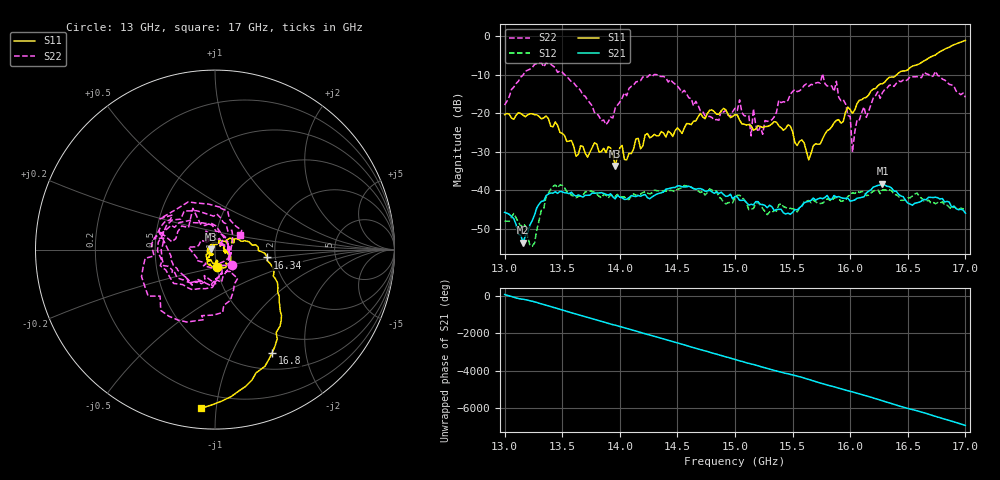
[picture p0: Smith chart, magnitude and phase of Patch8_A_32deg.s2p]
!Keysight Technologies,P9374A,MY57211810,A.19.30.04
!Date: Friday, May 09, 2025 09:14:57
!Correction: S11(Cdelta 2-Port  )
!S21(Cdelta 2-Port  )
!S12(Cdelta 2-Port  )
!S22(Cdelta 2-Port  )
!S2P File: Measurements: S11, S21, S12, S22:
# Hz S  dB  R 50
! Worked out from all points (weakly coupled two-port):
!   201 points, 13 GHz to 17 GHz, reference 50 ohm
!   highest |S21| = -38.32 dB at 16.28 GHz (marker M1); lowest = -53.6 dB at 13.16 GHz (marker M2)
!   lowest |S11| = -33.7 dB at 13.96 GHz (marker M3), VSWR 1.04, Z = 48 + j0.12 ohm
!   |S11| at or under -10 dB: start of sweep to 16.4 GHz
!   |S22| runs from -30.1 to -6.9 dB; largest |S21 - S12| = 0.0036
!   S11 on the Smith chart (normalised r, x): 13 GHz: 1.01, -0.19; 16.34 GHz: 1.81, -0.17; 16.8 GHz: 0.71, -1.45; 17 GHz: 0.11, -0.91
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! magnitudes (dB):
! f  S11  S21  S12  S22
! 13 GHz  -20.4  -45.8  -48.0  -17.8
! 13.16 GHz  -20.5  -53.6  -48.8  -10.1
! 13.24 GHz  -20.1  -47.9  -54.6  -8.1
! 13.36 GHz  -20.7  -41.4  -41.7  -6.9
! 13.68 GHz  -28.7  -41.8  -41.4  -15.3
! 13.88 GHz  -30.2  -41.1  -41.2  -22.9
! 13.96 GHz  -33.7  -42.2  -41.7  -18.6
! 14.34 GHz  -25.8  -40.8  -40.2  -10.4
! 14.82 GHz  -19.6  -40.8  -40.1  -21.7
! 15 GHz  -20.3  -41.6  -41.7  -18.7
! 15.16 GHz  -24.4  -43.8  -44.7  -18.8
! 15.24 GHz  -23.7  -43.7  -44.8  -25.4
! 15.38 GHz  -23.2  -45.0  -43.8  -16.6
! 15.68 GHz  -28.4  -42.1  -42.6  -12.6
! 15.88 GHz  -21.8  -41.8  -41.8  -11.7
! 16 GHz  -19.0  -42.9  -41.2  -20.8
! 16.02 GHz  -20.0  -42.7  -40.6  -30.1
! 16.06 GHz  -17.5  -42.1  -40.3  -21.6
! 16.28 GHz  -12.3  -38.3  -39.9  -14.6
! 16.34 GHz  -10.6  -39.1  -39.9  -12.7
! 16.8 GHz  -3.6  -42.2  -43.0  -11.1
! 17 GHz  -1.0  -46.0  -45.1  -15.8
